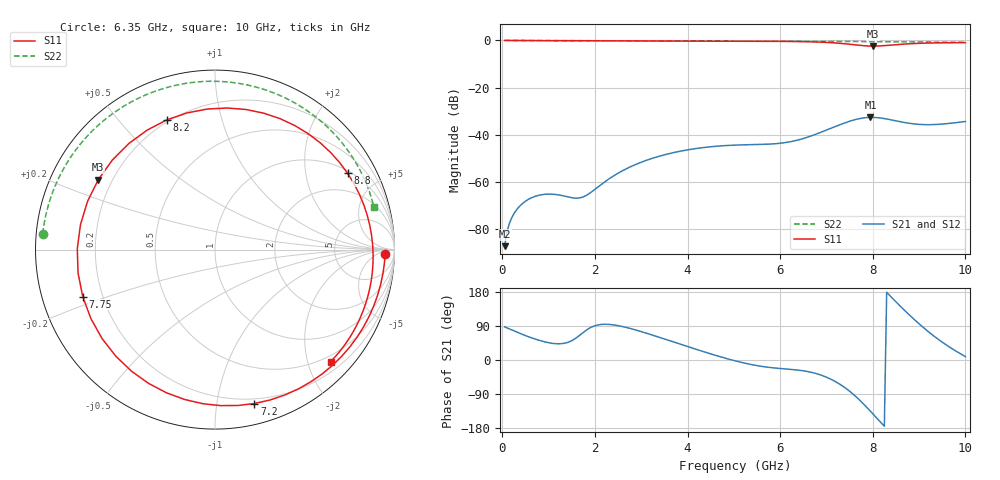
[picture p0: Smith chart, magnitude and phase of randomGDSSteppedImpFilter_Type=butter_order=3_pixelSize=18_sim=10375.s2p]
! freq	dB(S11)	phase(S11)	dB(S12)	phase(S12)
!  dB(S21)	phase(S21)	dB(S22)	phase(S22)
!S-par simulation data
#  GHz  S  DB  R 50
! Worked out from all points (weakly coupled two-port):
!   200 points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, 50 MHz to 10 GHz, reference 50 ohm
!   highest |S21| = -32.59 dB at 7.95 GHz (marker M1); lowest = -87.2 dB at 50 MHz (marker M2)
!   lowest |S11| = -2.4 dB at 8 GHz (marker M3), VSWR 7.27, Z = 7.39 + j13.6 ohm
!   |S11| at or under -10 dB: nowhere
!   |S22| runs from -0.8 to 0.0 dB; largest |S21 - S12| = 0
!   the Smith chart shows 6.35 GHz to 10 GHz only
!   S11 on the Smith chart (normalised r, x): 6.35 GHz: 32, -14; 7.2 GHz: 0.16, -1.28; 7.75 GHz: 0.13, -0.17; 8.2 GHz: 0.19, +0.68; 8.8 GHz: 1.09, +3.41; 10 GHz: 0.38, -2.42
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0.05  -0.00 -3.7  -87.19 87.4  -87.19 87.4  -0.00 -1.6
0.35  -0.03 -25.7  -70.77 72.0  -70.77 72.0  -0.01 -11.2
0.65  -0.06 -47.0  -66.51 57.8  -66.51 57.8  -0.03 -20.6
1.2  -0.10 -83.8  -65.41 42.8  -65.41 42.8  -0.05 -37.8
1.75  -0.13 -117.0  -66.27 72.9  -66.27 72.9  -0.07 -54.6
2.55  -0.15 -160.0  -55.71 89.5  -55.71 89.5  -0.10 -78.2
3.4  -0.19 158.2  -49.01 59.6  -49.01 59.6  -0.13 -102.2
4.3  -0.23 114.3  -45.50 23.8  -45.50 23.8  -0.17 -126.9
5.05  -0.27 75.8  -44.34 -2.9  -44.34 -2.9  -0.22 -147.5
5.65  -0.33 42.6  -44.03 -17.7  -44.03 -17.7  -0.26 -164.5
6.35  -0.46 -1.3  -42.36 -26.1  -42.36 -26.1  -0.32 174.7
6.7  -0.60 -27.4  -40.25 -33.3  -40.25 -33.3  -0.35 163.6
7.2  -1.06 -75.6  -36.41 -57.4  -36.41 -57.4  -0.40 146.6
7.5  -1.60 -116.4  -34.24 -82.4  -34.24 -82.4  -0.44 135.6
7.75  -2.14 -160.4  -32.98 -109.9  -32.98 -109.9  -0.46 126.0
7.95  -2.39 159.2  -32.59 -135.2  -32.59 -135.2  -0.49 117.9
8  -2.40 149.0  -32.60 -141.8  -32.60 -141.8  -0.49 115.8
8.2  -2.26 110.3  -32.95 -168.3  -32.95 -168.3  -0.52 107.3
8.35  -2.03 85.1  -33.46 172.3  -33.46 172.3  -0.53 100.6
8.8  -1.39 30.0  -35.14 117.7  -35.14 117.7  -0.58 79.4
9.3  -1.05 -8.3  -35.66 65.0  -35.66 65.0  -0.65 53.7
10  -0.94 -44.1  -34.35 8.8  -34.35 8.8  -0.75 15.1
